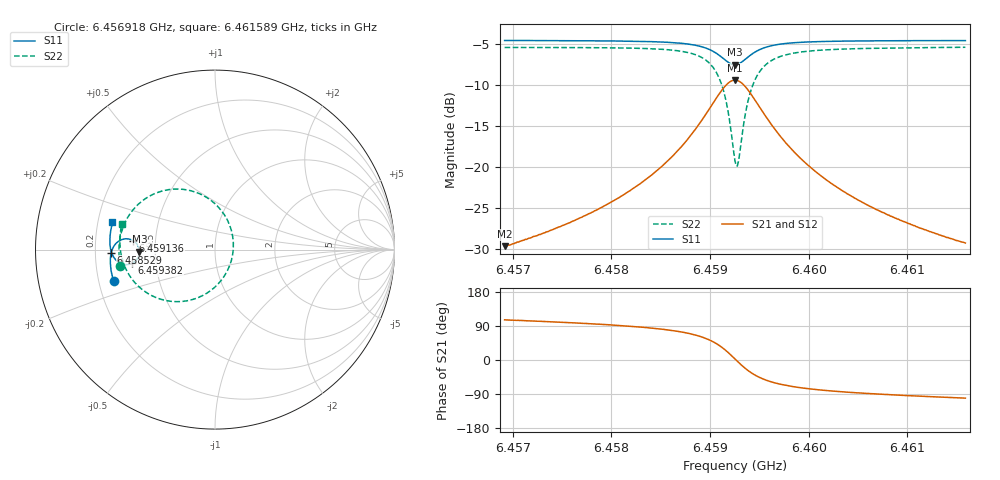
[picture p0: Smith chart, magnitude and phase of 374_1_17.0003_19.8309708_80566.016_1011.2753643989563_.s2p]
#  HZ  S  RI  R  50.00
! Rohde & Schwarz Vector Network Analyzer
! Rohde-Schwarz,ZNB20-2Port,1311601062101988,3.16
! Created: UTC 3/20/2024, 11:08:51 PM
! freq[Hz]  re:S11  im:S11  re:S21  im:S21  re:S12  im:S12  re:S22  im:S22
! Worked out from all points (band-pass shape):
!   401 points, 6.456918 GHz to 6.461589 GHz, reference 50 ohm
!   highest |S21| = -9.38 dB at 6.459253 GHz (marker M1); lowest = -29.6 dB at 6.456918 GHz (marker M2)
!   |S21| within 3 dB of the highest: 6.45902 GHz to 6.459487 GHz (466.8 kHz wide, 0.00723 % of centre)
!   lowest |S11| = -7.5 dB at 6.459253 GHz (marker M3), VSWR 2.45, Z = 20.4 - j0.566 ohm
!   |S11| at or under -10 dB: nowhere
!   |S22| runs from -19.8 to -5.4 dB; largest |S21 - S12| = 0.013
!   S11 on the Smith chart (normalised r, x): 6.456918 GHz: 0.26, -0.14; 6.458529 GHz: 0.27, -0.01; 6.459136 GHz: 0.37, +0.05; 6.459382 GHz: 0.36, -0.07; 6.461589 GHz: 0.26, +0.12
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6.4569177e9  -0.5652 -0.1768  -0.00912 0.0318  -0.00735 0.0317  -0.5291 -0.0896
6.4577001e9  -0.5801 -0.1088  -0.00594 0.0493  -0.00343 0.0489  -0.5356 0.000427
6.4581088e9  -0.5832 -0.0684  -0.00062 0.0672  0.00245 0.066  -0.5292 0.0633
6.4584825e9  -0.5798 -0.0245  0.0133 0.0971  0.0171 0.0944  -0.5041 0.1448
6.4585292e9  -0.5785 -0.0181  0.0165 0.1024  0.0205 0.0995  -0.498 0.1579
6.4587511e9  -0.5655 0.0157  0.0443 0.1358  0.0484 0.131  -0.4462 0.2336
6.4589029e9  -0.5434 0.042  0.0885 0.166  0.0918 0.1595  -0.3647 0.2979
6.4590431e9  -0.5003 0.0599  0.174 0.183  0.1751 0.1756  -0.2087 0.3374
6.4591365e9  -0.4564 0.0502  0.2627 0.1528  0.2629 0.147  -0.045 0.2897
6.4591832e9  -0.4355 0.0319  0.3058 0.111  0.3071 0.1058  0.0369 0.2154
6.4592533e9  -0.4207 -0.0114  0.3393 0.0161  0.3426 0.00916  0.1021 0.0396
6.4592766e9  -0.4224 -0.0271  0.3375 -0.0187  0.3411 -0.027  0.0985 -0.026
6.4592883e9  -0.4245 -0.0347  0.3339 -0.0356  0.3375 -0.0445  0.0919 -0.0581
6.4593817e9  -0.4614 -0.0763  0.2651 -0.1354  0.2644 -0.1482  -0.0467 -0.2436
6.4594284e9  -0.4839 -0.083  0.2215 -0.158  0.2177 -0.1704  -0.134 -0.2806
6.4594868e9  -0.5085 -0.0823  0.1729 -0.1673  0.1665 -0.1781  -0.2296 -0.2895
6.4596386e9  -0.5494 -0.0607  0.0909 -0.1515  0.0827 -0.1572  -0.385 -0.2373
6.4598021e9  -0.5694 -0.0332  0.049 -0.1246  0.0418 -0.127  -0.4601 -0.1674
6.4600357e9  -0.5811 0.000421  0.0223 -0.0954  0.0166 -0.096  -0.504 -0.0909
6.460386e9  -0.5856 0.0417  0.00634 -0.069  0.00229 -0.0686  -0.5255 -0.0126
6.4608181e9  -0.5835 0.0848  -0.00129 -0.051  -0.00409 -0.0502  -0.5297 0.0553
6.4615889e9  -0.5711 0.1527  -0.00639 -0.034  -0.0082 -0.0331  -0.5183 0.145
